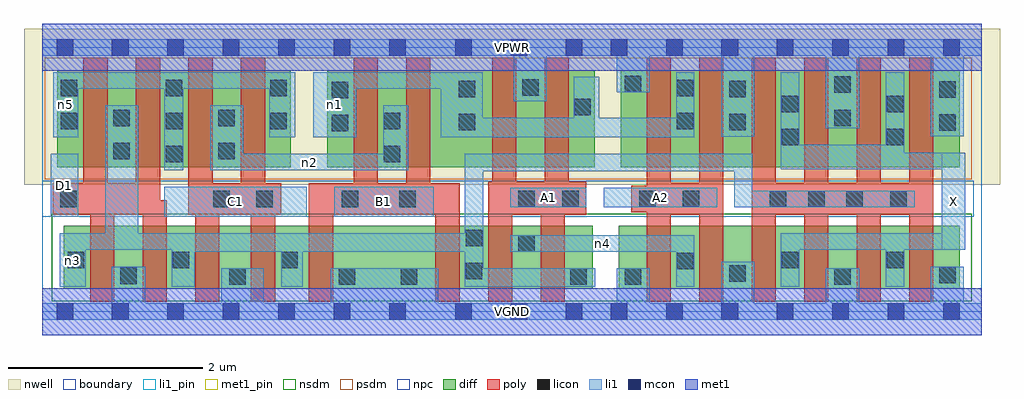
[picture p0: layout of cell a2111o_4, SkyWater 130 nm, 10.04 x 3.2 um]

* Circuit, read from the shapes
.subckt a2111o_4 A1 A2 B1 C1 D1 VGND VPWR X n1 n2 n3 n4 n5
XM1 VGND D1 n3 VSUBS sky130_fd_pr__nfet_01v8 w=0.65 l=0.25 m=2
XM2 VGND C1 n3 VSUBS sky130_fd_pr__nfet_01v8 w=0.65 l=0.25 m=2
XM3 VGND B1 n3 VSUBS sky130_fd_pr__nfet_01v8 w=0.65 l=0.25 m=2
XM4 n4 A1 n3 VSUBS sky130_fd_pr__nfet_01v8 w=0.65 l=0.25 m=2
XM5 n4 A2 VGND VSUBS sky130_fd_pr__nfet_01v8 w=0.65 l=0.25 m=2
XM6 X n3 VGND VSUBS sky130_fd_pr__nfet_01v8 w=0.65 l=0.25 m=4
XM7 n3 D1 n5 n6 sky130_fd_pr__pfet_01v8 w=1 l=0.25 m=2
XM8 n2 C1 n5 n6 sky130_fd_pr__pfet_01v8 w=1 l=0.25 m=2
XM9 n2 B1 n1 n6 sky130_fd_pr__pfet_01v8 w=1 l=0.25 m=2
XM10 VPWR A1 n1 n6 sky130_fd_pr__pfet_01v8 w=1 l=0.25 m=2
XM11 n1 A2 VPWR n6 sky130_fd_pr__pfet_01v8 w=1 l=0.25 m=2
XM12 X n3 VPWR n6 sky130_fd_pr__pfet_01v8 w=1 l=0.25 m=4
.ends

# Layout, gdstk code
import gdstk
lib = gdstk.Library(unit=1e-6, precision=1e-09)
def R(c, l, rs):  # rectangles x0, y0, x1, y1
    for r in rs: c.add(gdstk.rectangle(r[:2], r[2:], *l))
def A(c, l, x, y, w, h, nx, ny, dx, dy):  # array of equal rectangles
    R(c, l, [(x+i*dx, y+j*dy, x+i*dx+w, y+j*dy+h) for i in range(nx) for j in range(ny)])
nwell = (64, 20)
diff = (65, 20)
poly = (66, 20)
licon = (66, 44)
li1_pin = (67, 16)
li1 = (67, 20)
mcon = (67, 44)
met1_pin = (68, 16)
met1 = (68, 20)
nsdm = (93, 44)
psdm = (94, 20)
npc = (95, 20)
boundary = (235, 4)

a2111o_4 = lib.new_cell('a2111o_4')
R(a2111o_4, nwell, [(-0.19,1.305,9.85,2.91), (0,1.305,9.66,2.91)])
R(a2111o_4, diff, [(0.22,0.235,5.66,0.885), (5.93,0.235,9.435,0.885), (0.15,1.485,2.555,2.485), (2.93,1.485,5.68,2.485), (5.95,1.485,9.435,2.485)])
A(a2111o_4, poly, 6.215, 0.105, 0.25, 2.51, 6, 1, 0.54, 0)
A(a2111o_4, poly, 0.42, 0.995, 0.25, 1.62, 4, 1, 0.54, 0)
R(a2111o_4, poly, [(0.49,0.105,0.74,1.325), (1.03,0.105,1.28,1.145), (1.57,0.105,1.82,1.32), (2.145,0.105,2.395,1.32), (2.74,0.105,2.99,1.32), (4.04,0.105,4.29,1.32), (4.585,0.105,4.835,1.335), (5.125,0.105,5.375,1.335), (0.105,0.995,1.21,1.325), (1.5,0.995,2.455,1.32), (2.74,0.995,4.29,1.32), (3.2,0.995,3.45,2.615), (3.74,0.995,3.99,2.615), (4.585,0.995,5.595,1.335), (4.625,0.995,4.875,2.615), (5.165,0.995,5.415,2.615), (6.215,0.995,7.005,1.325), (7.295,0.995,9.165,1.325), (6.055,1.025,7.005,1.295)])
A(a2111o_4, licon, 7.48, 1.075, 0.17, 0.17, 3, 1, 0.395, 0)
A(a2111o_4, licon, 1.27, 1.535, 0.17, 0.17, 1, 3, 0, 0.34)
R(a2111o_4, licon, [(1.92,0.275,2.09,0.445), (3.05,0.275,3.22,0.445), (3.685,0.275,3.855,0.445), (5.43,0.275,5.6,0.445), (5.99,0.275,6.16,0.445), (8.145,0.275,8.315,0.445), (0.8,0.285,0.97,0.455), (9.225,0.295,9.395,0.465), (7.065,0.31,7.235,0.48), (4.355,0.335,4.525,0.505), (6.525,0.435,6.695,0.605), (0.26,0.445,0.43,0.615), (1.34,0.445,1.51,0.615), (2.455,0.445,2.625,0.615), (7.605,0.445,7.775,0.615), (8.685,0.445,8.855,0.615), (4.895,0.615,5.065,0.785), (4.355,0.675,4.525,0.845), (0.185,1.075,0.355,1.245), (1.755,1.075,1.925,1.245), (2.2,1.075,2.37,1.245), (3.08,1.075,3.25,1.245), (3.67,1.075,3.84,1.245), (4.895,1.075,5.065,1.245), (5.345,1.075,5.515,1.245), (6.14,1.075,6.31,1.245), (6.585,1.075,6.755,1.245), (8.72,1.075,8.89,1.245), (3.51,1.535,3.68,1.705), (0.73,1.57,0.9,1.74), (1.81,1.57,1.98,1.74), (7.605,1.71,7.775,1.88), (8.685,1.71,8.855,1.88), (2.975,1.855,3.145,2.025), (9.225,1.86,9.395,2.03), (4.28,1.865,4.45,2.035), (7.065,1.865,7.235,2.035), (0.19,1.875,0.36,2.045), (2.345,1.875,2.515,2.045), (3.51,1.875,3.68,2.045), (6.525,1.875,6.695,2.045), (0.73,1.91,0.9,2.08), (1.81,1.91,1.98,2.08), (8.145,1.91,8.315,2.08), (5.47,2.02,5.64,2.19), (7.605,2.05,7.775,2.22), (8.685,2.05,8.855,2.22), (2.975,2.195,3.145,2.365), (9.225,2.2,9.395,2.37), (4.28,2.205,4.45,2.375), (7.065,2.205,7.235,2.375), (0.19,2.215,0.36,2.385), (2.345,2.215,2.515,2.385), (6.525,2.215,6.695,2.385), (4.935,2.22,5.105,2.39), (8.145,2.25,8.315,2.42), (5.99,2.255,6.16,2.425)])
R(a2111o_4, li1_pin, [(9.25,0.635,9.495,1.635), (0.085,0.975,0.37,1.625), (1.255,0.975,2.72,1.285), (3,0.975,4.025,1.285), (4.81,1.075,5.595,1.275), (5.775,1.075,6.94,1.275)])
R(a2111o_4, li1, [(0,-0.085,9.66,0.085), (0.715,-0.085,1.055,0.465), (1.84,-0.085,2.275,0.445), (2.965,-0.085,4.07,0.445), (5.905,-0.085,6.245,0.445), (6.98,-0.085,7.32,0.515), (8.06,-0.085,8.4,0.445), (9.14,-0.085,9.475,0.465), (0.18,0.255,0.445,0.805), (1.33,0.255,1.565,0.805), (2.455,0.255,2.68,0.805), (4.345,0.255,5.685,0.445), (4.345,0.255,4.535,1.625), (6.52,0.255,6.705,0.785), (7.595,0.255,7.785,0.805), (8.675,0.255,8.865,0.805), (1.33,0.615,4.535,0.805), (4.81,0.615,6.705,0.785), (0.18,0.635,4.535,0.805), (0.645,0.635,0.985,2.125), (7.595,0.635,9.495,0.805), (9.25,0.635,9.495,1.635), (0.085,0.975,0.37,1.625), (1.255,0.975,2.72,1.285), (3,0.975,4.025,1.285), (4.81,1.075,5.595,1.275), (5.775,1.075,6.94,1.275), (7.115,1.075,8.975,1.245), (7.115,1.075,7.3,1.625), (4.345,1.445,7.3,1.625), (1.255,1.455,1.45,2.465), (1.725,1.455,3.765,1.625), (1.725,1.455,2.065,2.125), (3.505,1.455,3.765,2.125), (7.595,1.465,9.495,1.635), (7.595,1.465,7.785,2.465), (7.595,1.465,8.865,1.715), (8.675,1.465,8.865,2.465), (0.11,1.795,0.37,2.465), (2.335,1.795,2.6,2.465), (2.785,1.795,3.23,2.465), (4.095,1.795,6.705,1.995), (4.095,1.795,4.53,2.465), (5.465,1.795,5.725,2.415), (6.52,1.795,6.705,2.465), (6.98,1.8,7.32,2.805), (9.14,1.805,9.475,2.805), (8.06,1.885,8.4,2.805), (4.85,2.165,5.19,2.805), (5.905,2.255,6.245,2.805), (0.11,2.295,2.6,2.465), (2.785,2.295,4.53,2.465), (0,2.635,9.66,2.805)])
A(a2111o_4, mcon, 0.145, -0.085, 0.17, 0.17, 7, 2, 0.57, 2.72)
A(a2111o_4, mcon, 4.245, -0.085, 0.17, 0.17, 3, 2, 0.57, 2.72)
A(a2111o_4, mcon, 5.845, -0.085, 0.17, 0.17, 7, 2, 0.57, 2.72)
R(a2111o_4, met1_pin, [(0,-0.24,9.66,0.24), (0,2.48,9.66,2.96)])
R(a2111o_4, met1, [(0,-0.24,9.66,0.24), (0,2.48,9.66,2.96)])
R(a2111o_4, nsdm, [(0.095,0.11,9.56,1.01)])
R(a2111o_4, psdm, [(0.025,1.36,9.56,2.61)])
R(a2111o_4, npc, [(0,0.975,9.58,1.345)])
R(a2111o_4, boundary, [(0,0,9.66,2.72)])
a2111o_4.add(gdstk.Label('A1', (5.202,1.175), layer=67, texttype=5))
a2111o_4.add(gdstk.Label('A2', (6.357,1.175), layer=67, texttype=5))
a2111o_4.add(gdstk.Label('B1', (3.512,1.13), layer=67, texttype=5))
a2111o_4.add(gdstk.Label('C1', (1.987,1.13), layer=67, texttype=5))
a2111o_4.add(gdstk.Label('D1', (0.227,1.3), layer=67, texttype=5))
a2111o_4.add(gdstk.Label('X', (9.372,1.135), layer=67, texttype=5))
a2111o_4.add(gdstk.Label('n4', (5.757,0.7), layer=67, texttype=5))
a2111o_4.add(gdstk.Label('n3', (0.312,0.53), layer=67, texttype=5))
a2111o_4.add(gdstk.Label('n2', (2.745,1.54), layer=67, texttype=5))
a2111o_4.add(gdstk.Label('n5', (0.24,2.13), layer=67, texttype=5))
a2111o_4.add(gdstk.Label('n1', (3.007,2.13), layer=67, texttype=5))
a2111o_4.add(gdstk.Label('VPWR', (4.83,2.72), layer=68, texttype=5))
a2111o_4.add(gdstk.Label('VGND', (4.83,0), layer=68, texttype=5))
a2111o_4.add(gdstk.Label('A1', (5.202,1.175), layer=67, texttype=16))
a2111o_4.add(gdstk.Label('A2', (6.357,1.175), layer=67, texttype=16))
a2111o_4.add(gdstk.Label('B1', (3.512,1.13), layer=67, texttype=16))
a2111o_4.add(gdstk.Label('C1', (1.987,1.13), layer=67, texttype=16))
a2111o_4.add(gdstk.Label('D1', (0.227,1.3), layer=67, texttype=16))
a2111o_4.add(gdstk.Label('X', (9.372,1.135), layer=67, texttype=16))
a2111o_4.add(gdstk.Label('VPWR', (4.83,2.72), layer=68, texttype=16))
a2111o_4.add(gdstk.Label('VGND', (4.83,0), layer=68, texttype=16))

lib.write_gds('a2111o_4.gds')
